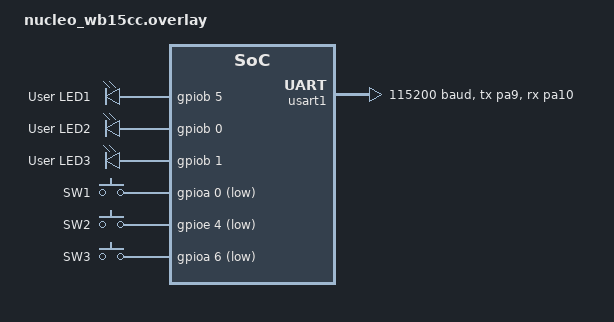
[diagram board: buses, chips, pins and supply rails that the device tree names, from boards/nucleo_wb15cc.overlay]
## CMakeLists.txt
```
# SPDX-License-Identifier: Apache-2.0

cmake_minimum_required(VERSION 3.20.0)

find_package(Zephyr REQUIRED HINTS $ENV{ZEPHYR_BASE})
project(NUCLEO_WB15CC)

zephyr_include_directories(
  inc
)

target_sources(app PRIVATE
    src/main.c
    src/app_gpio.c
    src/app_ble.c
)

# zephyr_code_relocate(FILES src/main.c LOCATION SRAM2)
# zephyr_code_relocate(FILES src/app_gpio.c LOCATION SRAM2)
# zephyr_code_relocate(FILES src/app_ble.c LOCATION SRAM2)
```

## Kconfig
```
mainmenu "Project Configuration"

	menu "Application Configuration"
		config APP_MAJOR_VERSION
			int "Major version number"
			default 1

		config APP_MINOR_VERSION
			int "Minor version number"
			default 0

		config APP_BUILD_VERSION
			int "Build version number"
			default 0
	endmenu

source "Kconfig.zephyr"
```

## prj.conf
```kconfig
# Application Configuration
CONFIG_APP_MAJOR_VERSION=1
CONFIG_APP_MINOR_VERSION=0
CONFIG_APP_BUILD_VERSION=0

# Heap and Stacks
CONFIG_HEAP_MEM_POOL_SIZE=0
CONFIG_MAIN_STACK_SIZE=1024
CONFIG_SYSTEM_WORKQUEUE_STACK_SIZE=1024
CONFIG_PRIVILEGED_STACK_SIZE=1024
CONFIG_ISR_STACK_SIZE=1024

# Reboot
CONFIG_REBOOT=y

# Peripheral
CONFIG_SERIAL=y
CONFIG_UART_INTERRUPT_DRIVEN=y
CONFIG_GPIO=y

# Log
CONFIG_EARLY_CONSOLE=y
CONFIG_UART_CONSOLE=y
CONFIG_LOG=y
CONFIG_LOG_BUFFER_SIZE=1024
CONFIG_LOG_PROCESS_THREAD_STACK_SIZE=1024

# Shell
# CONFIG_SHELL=y
# CONFIG_SHELL_STACK_SIZE=512
# CONFIG_SHELL_LOG_BACKEND=y
# CONFIG_SHELL_BACKENDS=y
# CONFIG_SHELL_BACKEND_SERIAL=y

# Disable Default Shell
# CONFIG_DEVICE_SHELL=n
# CONFIG_DEVMEM_SHELL=n
# CONFIG_FLASH_SHELL=n
# CONFIG_KERNEL_SHELL=n
# CONFIG_PWM_SHELL=n
# CONFIG_SENSOR_SHELL=n
# CONFIG_FLASH_MAP_SHELL=n
# CONFIG_ADC_SHELL=n
# CONFIG_I2C_SHELL=n
# CONFIG_LORA_SHELL=n
# CONFIG_CLOCK_CONTROL_NRF_SHELL=n
# CONFIG_MCUBOOT_SHELL=n

# Flash
# CONFIG_FLASH=y
# CONFIG_FLASH_MAP=y
# CONFIG_FLASH_PAGE_LAYOUT=y
# CONFIG_STREAM_FLASH=y
# CONFIG_NVS=y
# CONFIG_MPU_ALLOW_FLASH_WRITE=y

# Bluetooth
CONFIG_BT_DEVICE_NAME="STM32WB15CC"
CONFIG_BT_DEVICE_NAME_DYNAMIC=y
CONFIG_BT_DEVICE_NAME_MAX=32
CONFIG_BT_REMOTE_VERSION=y

CONFIG_SETTINGS=y

CONFIG_BT=y

# GCC lib
# CONFIG_NEWLIB_LIBC=y
# CONFIG_NEWLIB_LIBC_NANO=n

# Code relocation
# CONFIG_CODE_DATA_RELOCATION=y
```

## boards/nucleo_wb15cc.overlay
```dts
/ {
	chosen {
		zephyr,sram = &sram3;
	};

	leds: leds {
		compatible = "gpio-leds";
		blue_led_1: led_0 {
			gpios = <&gpiob 5 GPIO_ACTIVE_HIGH>;
			label = "User LED1";
		};
		green_led_2: led_1 {
			gpios = <&gpiob 0 GPIO_ACTIVE_HIGH>;
			label = "User LED2";
		};
		green_led_3: led_2 {
			gpios = <&gpiob 1 GPIO_ACTIVE_HIGH>;
			label = "User LED3";
		};
	};

	gpio_keys {
		compatible = "gpio-keys";
		user_button_1: button_0 {
			label = "SW1";
			gpios = <&gpioa 0 (GPIO_ACTIVE_LOW | GPIO_PULL_UP)>;
			zephyr,code = <INPUT_KEY_0>;
		};
		user_button_2: button_1 {
			label = "SW2";
			gpios = <&gpioe 4 (GPIO_ACTIVE_LOW | GPIO_PULL_UP)>;
			zephyr,code = <INPUT_KEY_1>;
		};
		user_button_3: button_2 {
			label = "SW3";
			gpios = <&gpioa 6 (GPIO_ACTIVE_LOW | GPIO_PULL_UP)>;
			zephyr,code = <INPUT_KEY_2>;
		};
	};

	aliases {
		led0 = &green_led_2;
		sw0 = &user_button_1;
		sw1 = &user_button_2;
		sw2 = &user_button_3;
	};
};

&usart1 {
	pinctrl-0 = <&usart1_tx_pa9 &usart1_rx_pa10>;
	pinctrl-names = "default";
	current-speed = <115200>;
	status = "okay";
};
```

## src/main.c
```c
#include <zephyr/kernel.h>
#include <zephyr/logging/log.h>

#include "main.h"

LOG_MODULE_REGISTER(main, LOG_LEVEL_INF);

int main(void)
{
	LOG_INF("\r\n\r\n");
	k_msleep(1000);

	LOG_INF("===== NUCLEO-WB15CC DK =====");
    LOG_INF("Firmware version: %d.%d.%d", 
				CONFIG_APP_MAJOR_VERSION,
				CONFIG_APP_MINOR_VERSION,
				CONFIG_APP_BUILD_VERSION);
	LOG_INF("Compiled on: %s %s", __DATE__, __TIME__);
    LOG_INF("========================================");

	gpio_init();
	ble_init();

	ble_adv_start(UINT32_MAX);

	return 0;
}
```

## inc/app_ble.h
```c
#ifndef APP_BLE_H
#define APP_BLE_H

enum ble_state{
    BLE_DEINIT,
    BLE_INIT,
    BLE_ADV_STOP,
    BLE_ADV_START,
};

void ble_bcn_clear(void);
int ble_scan_bcn_raw(uint8_t max, uint8_t** buffer, int8_t* rssi);
int ble_scan_start(uint32_t timeout);
int ble_adv_stop(void);
int ble_adv_start(uint32_t timeout);
int ble_deinit(void);
int ble_init(void);

#endif
```

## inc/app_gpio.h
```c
#ifndef APP_GPIO_H
#define APP_GPIO_H

typedef enum {
    LED0,
    BUTTON0
} gpio_key;

int gpio_read(gpio_key gpio);
int gpio_set(gpio_key gpio, bool status);
int gpio_init(void);

#endif
```

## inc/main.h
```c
#ifndef MAIN_H
#define MAIN_H

#include "app_gpio.h"
#include "app_ble.h"

#endif
```

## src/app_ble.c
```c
#include <stdio.h>
#include <stdlib.h>
#include <string.h>

#include <zephyr/kernel.h>
#include <zephyr/logging/log.h>

#include <zephyr/bluetooth/bluetooth.h>
#include <zephyr/bluetooth/hci.h>
#include <zephyr/bluetooth/conn.h>
#include <zephyr/bluetooth/gatt.h>
#include <zephyr/bluetooth/uuid.h>
#include <zephyr/settings/settings.h>

#include "main.h"

LOG_MODULE_REGISTER(app_ble, LOG_LEVEL_INF);

static struct k_work ble_adv_stop_work;

static struct bt_data ad[] = {
	BT_DATA_BYTES(BT_DATA_FLAGS, (BT_LE_AD_GENERAL | BT_LE_AD_NO_BREDR)),
    BT_DATA_BYTES(BT_DATA_UUID128_ALL,
                    0x84, 0xaa, 0x60, 0x74, 0x52, 0x8a, 0x8b, 0x86,
                    0xd3, 0x4c, 0xb7, 0x1d, 0x1d, 0xdc, 0x53, 0x8d),
};

static enum ble_state ble_status = BLE_DEINIT; 

static void ble_adv_stop_work_function(struct k_work *item);
static void ble_adv_stop_timer_handler(struct k_timer* timer);

K_TIMER_DEFINE(ble_adv_stop_timer, ble_adv_stop_timer_handler, NULL);

static void ble_adv_stop_work_function(struct k_work *item)
{
	ble_adv_stop();
}

static void ble_adv_stop_timer_handler(struct k_timer* timer)
{
    k_work_submit(&ble_adv_stop_work);
}

static void bt_ready(int err)
{
	if (err) {
		LOG_ERR("Bluetooth init failed (err %d)", err);
		return;
	}

    settings_subsys_init();
    settings_load();

	ble_status = BLE_INIT;

	LOG_INF("Bluetooth initialized");
}

int ble_adv_stop(void)
{
    int ret = 0;

    ret = bt_le_adv_stop();
    if (ret != 0) {
		LOG_ERR("bt le adv stop error: %d", ret);
		return ret;
	}

    ble_status = BLE_ADV_STOP;
	
    LOG_INF("BLE advertising stop");

    return ret;
}

int ble_adv_start(uint32_t timeout)
{
    int ret = 0;

    ret = bt_le_adv_start(BT_LE_ADV_NCONN_NAME, ad, ARRAY_SIZE(ad), NULL, 0);
    if (ret != 0) {
		LOG_ERR("bt le adv start error: %d", ret);
		return ret;
	}
    
    k_timer_start(&ble_adv_stop_timer, K_MSEC(timeout), K_NO_WAIT);

    ble_status = BLE_ADV_START;

    LOG_INF("BLE advertising start");

    return ret;    
}

int ble_deinit(void)
{
	int ret = 0;

    ret = bt_disable();
    if (ret != 0) {
		LOG_ERR("bt disable error: %d", ret);
		return ret;
	}

	ble_status = BLE_DEINIT;

    LOG_INF("ble deinit");

    return ret;
}

int ble_init(void)
{
    int ret = 0;

    ret = bt_enable(bt_ready);
	if (ret != 0) {
		LOG_ERR("bt enable error: %d", ret);
		return ret;
	}

	while(ble_status != BLE_INIT) {
		k_msleep(100);
	}

	k_work_init(&ble_adv_stop_work, ble_adv_stop_work_function);

    return ret;
}
```

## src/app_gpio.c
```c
#include <zephyr/kernel.h>
#include <zephyr/drivers/gpio.h>
#include <zephyr/logging/log.h>

#include "main.h"

LOG_MODULE_REGISTER(app_gpio, LOG_LEVEL_INF);

static const struct gpio_dt_spec gpio_led_0 = GPIO_DT_SPEC_GET(DT_ALIAS(led0), gpios);
static const struct gpio_dt_spec gpio_button_0 = GPIO_DT_SPEC_GET(DT_ALIAS(sw0), gpios);

static struct gpio_callback gpio_button_cb;

static void gpio_button_cb_handler(const struct device *port, struct gpio_callback *cb, gpio_port_pins_t pins)
{
	// LOG_INF("gpio_button_cb_handler");
	gpio_pin_toggle_dt(&gpio_led_0);
}

int gpio_read(gpio_key gpio)
{
	int ret = 0;
	
	switch (gpio)
	{
	case LED0:
		ret = gpio_pin_get_dt(&gpio_led_0);
		break;
	case BUTTON0:
		ret = gpio_pin_get_dt(&gpio_button_0);
		break;
	default:
		break;
	}
	
	return ret;
}

int gpio_set(gpio_key gpio, bool status)
{
	int ret = 0;

	switch (gpio)
	{
	case LED0:
		ret = gpio_pin_set_dt(&gpio_led_0, status);
		break;
	default:
		break;
	}

	return ret;
}

int gpio_init(void)
{
    int ret = 0;
	
	ret = gpio_pin_configure_dt(&gpio_led_0, (GPIO_INPUT | GPIO_OUTPUT));
	if (ret < 0) {
		LOG_ERR("gpio pin configure dt gpio_button_0 error %d", ret);
		return ret;
	}

	ret = gpio_pin_configure_dt(&gpio_button_0, (GPIO_INPUT));
	if (ret < 0) {
		LOG_ERR("gpio pin configure dt gpio_button_0 error %d", ret);
		return ret;
	}

	gpio_set(LED0, 1);

	ret = gpio_pin_interrupt_configure_dt(&gpio_button_0, GPIO_INT_EDGE_RISING);
	if (ret < 0) {
		LOG_ERR("gpio pin interrupt configure dt gpio_button_0 error: %d", ret);
		return ret;
	}
	
	gpio_init_callback(&gpio_button_cb, gpio_button_cb_handler, BIT(gpio_button_0.pin));
    gpio_add_callback(gpio_button_0.port, &gpio_button_cb);

	return ret;
}
```
